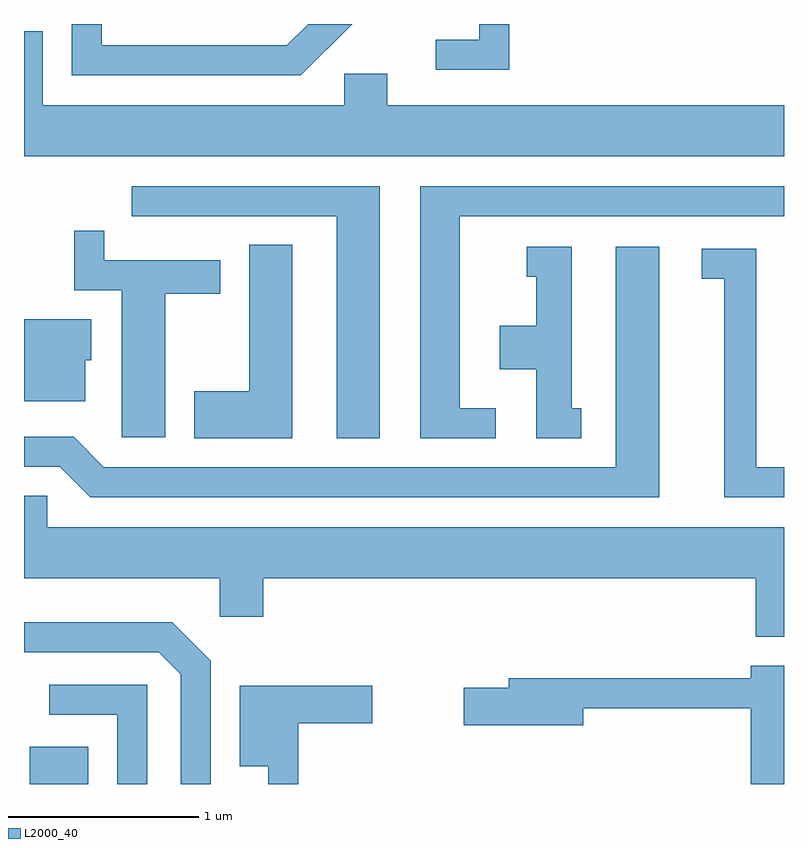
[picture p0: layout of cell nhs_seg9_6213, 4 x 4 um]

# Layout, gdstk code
import gdstk
lib = gdstk.Library(unit=1e-6, precision=1e-09)
def R(c, l, rs):  # rectangles x0, y0, x1, y1
    for r in rs: c.add(gdstk.rectangle(r[:2], r[2:], *l))
def P(c, l, *ps):  # polygons
    for p in ps: c.add(gdstk.Polygon(p, *l))
L2000_40 = (2000, 40)

nhs_seg9_6213 = lib.new_cell('nhs_seg9_6213')
R(nhs_seg9_6213, L2000_40, [(367.641,2068.432,367.949,2068.629)])
P(nhs_seg9_6213, L2000_40, [(369.338,2072.432),(369.106,2072.432),(368.994,2072.319),(368.019,2072.319),(368.019,2072.432),(367.861,2072.432),(367.861,2072.161),(369.067,2072.161)],
  [(370.164,2072.432),(370.006,2072.432),(370.006,2072.349),(369.778,2072.349),(369.778,2072.191),(370.164,2072.191)],
  [(371.611,2072.004),(369.524,2072.004),(369.524,2072.169),(369.296,2072.169),(369.296,2072.004),(367.709,2072.004),(367.709,2072.394),(367.611,2072.394),(367.611,2071.736),(371.611,2071.736)],
  [(369.484,2071.579),(368.178,2071.579),(368.178,2071.421),(369.256,2071.421),(369.256,2070.251),(369.484,2070.251)],
  [(370.093,2070.409),(369.904,2070.409),(369.904,2071.421),(371.611,2071.421),(371.611,2071.579),(369.696,2071.579),(369.696,2070.251),(370.093,2070.251)],
  [(368.354,2071.011),(368.644,2071.011),(368.644,2071.189),(368.034,2071.189),(368.034,2071.343),(367.876,2071.343),(367.876,2071.031),(368.126,2071.031),(368.126,2070.256),(368.354,2070.256)],
  [(369.024,2071.269),(368.796,2071.269),(368.796,2070.499),(368.506,2070.499),(368.506,2070.251),(369.024,2070.251)],
  [(370.954,2071.259),(370.726,2071.259),(370.726,2070.099),(368.032,2070.099),(367.872,2070.259),(367.611,2070.259),(367.611,2070.101),(367.799,2070.101),(367.959,2069.941),(370.954,2069.941)],
  [(370.543,2070.409),(370.494,2070.409),(370.494,2071.259),(370.258,2071.259),(370.258,2071.101),(370.306,2071.101),(370.306,2070.844),(370.116,2070.844),(370.116,2070.616),(370.306,2070.616),(370.306,2070.251),(370.543,2070.251)],
  [(371.611,2070.099),(371.464,2070.099),(371.464,2071.249),(371.178,2071.249),(371.178,2071.091),(371.296,2071.091),(371.296,2069.941),(371.611,2069.941)],
  [(367.934,2070.661),(367.964,2070.661),(367.964,2070.879),(367.611,2070.879),(367.611,2070.446),(367.934,2070.446)],
  [(371.611,2069.784),(367.734,2069.784),(367.734,2069.949),(367.611,2069.949),(367.611,2069.516),(368.641,2069.516),(368.641,2069.311),(368.869,2069.311),(368.869,2069.516),(371.461,2069.516),(371.461,2069.206),(371.611,2069.206)],
  [(368.594,2069.082),(368.392,2069.284),(367.611,2069.284),(367.611,2069.126),(368.319,2069.126),(368.436,2069.009),(368.436,2068.432),(368.594,2068.432)],
  [(371.611,2069.054),(371.436,2069.054),(371.436,2068.989),(370.161,2068.989),(370.161,2068.939),(369.926,2068.939),(369.926,2068.741),(370.554,2068.741),(370.554,2068.831),(371.436,2068.831),(371.436,2068.432),(371.611,2068.432)],
  [(368.259,2068.954),(367.743,2068.954),(367.743,2068.796),(368.101,2068.796),(368.101,2068.432),(368.259,2068.432)],
  [(369.054,2068.751),(369.444,2068.751),(369.444,2068.949),(368.746,2068.949),(368.746,2068.526),(368.896,2068.526),(368.896,2068.432),(369.054,2068.432)])

lib.write_gds('nhs_seg9_6213.gds')
